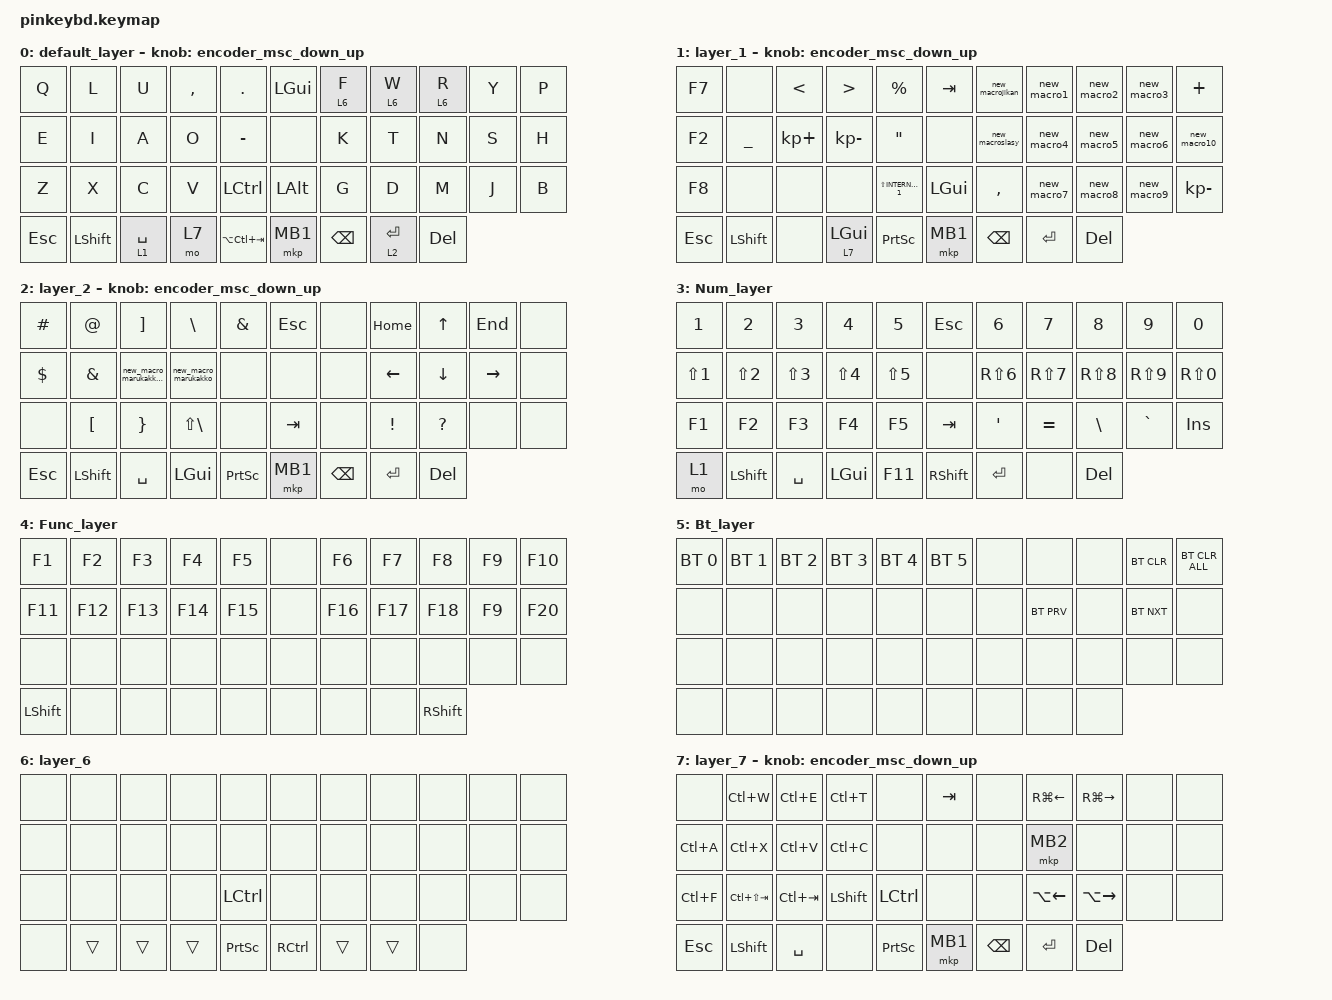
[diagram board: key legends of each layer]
#include <input/processors.dtsi>
#include <behaviors.dtsi>
#include <dt-bindings/zmk/bt.h>
#include <dt-bindings/zmk/keys.h>
#include <dt-bindings/zmk/pointing.h>

#undef  ZMK_POINTING_DEFAULT_SCRL_VAL

#define ZMK_POINTING_DEFAULT_SCRL_VAL 80

&lt { tapping-term-ms = <200>; };

/ {
    behaviors {
        rot_kp: sensor_rotate_kp {
            compatible = "zmk,behavior-sensor-rotate-var";
            #sensor-binding-cells = <2>;
            bindings = <&kp>, <&kp>;
        };

        encoder_msc_down_up: encoder_msc_down_up {
            compatible = "zmk,behavior-sensor-rotate";
            label = "ENCODER_MSC_DOWN_UP";
            #sensor-binding-cells = <0>;
            bindings = <&msc SCRL_DOWN>, <&msc SCRL_UP>;

            tap-ms = <20>;
        };
    };

    combos {
        compatible = "zmk,combos";

        lag1 {
            bindings = <&kp LANGUAGE_1>;
            key-positions = <19 18>;
        };

        lag2 {
            bindings = <&kp LANGUAGE_2>;
            key-positions = <14 13>;
        };

        tab {
            bindings = <&kp TAB>;
            key-positions = <29 30>;
        };
    };

    macros {
        new_macro1: new_macro1 {
            compatible = "zmk,behavior-macro";
            #binding-cells = <0>;
            bindings = <&kp LANGUAGE_2 &kp NUMBER_1>;
            label = "NEW_MACRO1";
        };

        new_macro2: new_macro2 {
            compatible = "zmk,behavior-macro";
            #binding-cells = <0>;
            bindings = <&kp LANGUAGE_2 &kp NUMBER_2>;
            label = "NEW_MACRO2";
        };

        new_macro3: new_macro3 {
            compatible = "zmk,behavior-macro";
            #binding-cells = <0>;
            bindings = <&kp LANGUAGE_2 &kp NUMBER_3>;
            label = "NEW_MACRO3";
        };

        new_macro4: new_macro4 {
            compatible = "zmk,behavior-macro";
            #binding-cells = <0>;
            bindings = <&kp LANGUAGE_2 &kp NUMBER_4>;
            label = "NEW_MACRO4";
        };

        new_macro5: new_macro5 {
            compatible = "zmk,behavior-macro";
            #binding-cells = <0>;
            bindings = <&kp LANGUAGE_2 &kp N5>;
            label = "NEW_MACRO5";
        };

        new_macro6: new_macro6 {
            compatible = "zmk,behavior-macro";
            #binding-cells = <0>;
            bindings = <&kp LANGUAGE_2 &kp NUMBER_6>;
            label = "NEW_MACRO6";
        };

        new_macro7: new_macro7 {
            compatible = "zmk,behavior-macro";
            #binding-cells = <0>;
            bindings = <&kp LANGUAGE_2 &kp N7>;
            label = "NEW_MACRO7";
        };

        new_macro8: new_macro8 {
            compatible = "zmk,behavior-macro";
            #binding-cells = <0>;
            bindings = <&kp LANGUAGE_2 &kp N8>;
            label = "NEW_MACRO8";
        };

        new_macro9: new_macro9 {
            compatible = "zmk,behavior-macro";
            #binding-cells = <0>;
            bindings = <&kp LANGUAGE_2 &kp N9>;
            label = "NEW_MACRO9";
        };

        new_macro10: new_macro0 {
            compatible = "zmk,behavior-macro";
            #binding-cells = <0>;
            bindings = <&kp LANGUAGE_2 &kp N0>;
            label = "NEW_MACRO0";
        };

        new_macrocolonn: new_macrocolonn {
            compatible = "zmk,behavior-macro";
            #binding-cells = <0>;
            bindings = <&kp LANGUAGE_2 &kp LS(SEMICOLON)>;
            label = "NEW_MACRO";
        };

        new_macroslasy: new_macroslasy {
            compatible = "zmk,behavior-macro";
            #binding-cells = <0>;
            bindings = <&kp LANGUAGE_2 &kp SLASH>;
            label = "NEW_MACROSLASY";
        };

        new_macronami: new_macronami {
            compatible = "zmk,behavior-macro";
            #binding-cells = <0>;
            bindings = <&kp LANGUAGE_2 &kp LS(GRAVE)>;
            label = "NEW_MACRONAMI";
        };

        new_macro_marukakko: new_macro_marukakko {
            compatible = "zmk,behavior-macro";
            #binding-cells = <0>;
            bindings = <&kp LANGUAGE_2 &kp LS(NUMBER_9)>;
            label = "NEW_MACRO_MARUKAKKO";
        };

        new_macro_marukakko2: new_macro_marukakko2 {
            compatible = "zmk,behavior-macro";
            #binding-cells = <0>;
            bindings = <&kp LANGUAGE_2 &kp LS(N0)>;
            label = "NEW_MACRO_MARUKAKKO2";
        };

        new_macro_marukakkomigi: new_macro_marukakkomigi {
            compatible = "zmk,behavior-macro";
            #binding-cells = <0>;
            bindings = <&kp LANGUAGE_2 &kp LS(N8)>;
            label = "NEW_MACRO_MARUKAKKOMIGI";
        };

        new_macrojikan: new_macrojikan {
            compatible = "zmk,behavior-macro";
            #binding-cells = <0>;
            bindings = <&kp LANGUAGE_2 &kp APOS>;
            label = "NEW_MACROJIKAN";
        };
    };

    keymap {
        compatible = "zmk,keymap";

        // ---------------------------------------------------------------------------------------------------------------------------------------------------------------------------------------------------------------
        // |        /       |       ,       |       .       |      -        |      ;       |    ESC         |                   |           |       L      |       R       |       D       |       Y       |      P      |
        // |        A       |       O       |       E       |      I        |      U       |    SCROLLLOCK  |                   |           |       G      |       N       |       T       |       S       |      K      |
        // |        X       |       C       |       V       |      W        |      Q       |    TAB         |                   |     F     |       J      |       H       |       M       |       B       |      Z      |
        // |    L_SHIFT     |               |               |   LOWER / Jp  |    Space     |    LEFT_WIN    |                   |  R_SHIFT  |      ENTER   |  LOWER2 / Ja  |               |               |   FUN_L     |
        // ---------------------------------------------------------------------------------------------------------------------------------------------------------------------------------------------------------------

        default_layer {
            bindings = <
&kp Q    &kp L           &kp U        &kp COMMA  &kp DOT           &kp LEFT_GUI  &lt 6 F        &lt 6 W      &lt 6 R     &kp Y  &kp P
&kp E    &kp I           &kp A        &kp O      &kp MINUS         &none         &kp K          &kp T        &kp N       &kp S  &kp H
&kp Z    &kp X           &kp C        &kp V      &kp LEFT_CONTROL  &kp LEFT_ALT  &kp G          &kp D        &kp M       &kp J  &kp B
&kp ESC  &kp LEFT_SHIFT  &lt 1 SPACE  &mo 7      &kp LA(LC(TAB))   &mkp MB1      &kp BACKSPACE  &lt 2 ENTER  &kp DELETE
            >;

            sensor-bindings = <&encoder_msc_down_up>;
        };

        // ----------------------------------------------------------------------------------------------------------------------------------------------------------------------------------------------------------------
        // |    /           |       ,       |       END     |     （        |      ”        |    PAUSE_BREAK|                  |            |      （       |       ）     |        ↑      |        [      |      ]      |
        // |    HOME        |       C_SAVE  |       END     |       ）      |       U       |    SCROLLLOCK |                  |            |   Backspace   |       ←      |        ↓      |        →      |     DEL     |
        // |    UNDO        |       CUT     |       COPY    |       PASTE   |       Q       |    TAB        |                  |   PSCRN    |    ' / "      |    = / +     |    \ / |      |    ` / ~      |    INS      |
        // |    L_SHIFT     |               |               |       none    |    SPACE      |    LALT       |                  |   RSHIFT   |   ENTER       |       FUN_L  |               |               |    RCTRL    |
        // ----------------------------------------------------------------------------------------------------------------------------------------------------------------------------------------------------------------

        layer_1 {
            bindings = <
&kp F7      &none           &kp LESS_THAN  &kp GREATER_THAN  &kp PERCENT              &kp TAB       &new_macrojikan  &new_macro1  &new_macro2  &new_macro3  &kp PLUS
&kp F2      &kp UNDER       &kp KP_PLUS    &kp KP_MINUS      &kp DOUBLE_QUOTES        &none         &new_macroslasy  &new_macro4  &new_macro5  &new_macro6  &new_macro10
&kp F8      &none           &none          &none             &kp LS(INTERNATIONAL_1)  &kp LEFT_GUI  &kp COMMA        &new_macro7  &new_macro8  &new_macro9  &kp KP_SUBTRACT
&kp ESCAPE  &kp LEFT_SHIFT  &none          &lt 7 LEFT_GUI    &kp PSCRN                &mkp MB1      &kp BACKSPACE    &kp ENTER    &kp DEL
            >;

            sensor-bindings = <&encoder_msc_down_up>;
        };

        // -------------------------------------------------------------------------------------------------------------------------------------------------------------------------------------------------------------
        // |    /           |       ,        |       END     |       {       |       ’      |    ESC        |                  |            |      L      |      R         |    PG_UP      |     {       |      }      |
        // |    HOME        |       C_SAVE   |       END     |       }       |       U      |    LCTRL      |                  |            |  Backspace  |    HOME        |    PG_DN      |    END      |    DEL      |
        // |    UNDO        |       CUT      |       COPY    |       PASTE   |       Q      |    TAB        |                  |      F     |    ' / "    |    = / +       |    \ / |      |    ` / ~    |    INS      |
        // |    L_SHIFT     |                |               |       BT_L    |      SPACE   |    LALT       |                  |   ENTER    |    none     |   R_SHIFT      |               |             |   R_SHIFT   |
        // -------------------------------------------------------------------------------------------------------------------------------------------------------------------------------------------------------------

        layer_2 {
            bindings = <
&kp HASH    &kp AT            &kp RIGHT_BRACKET         &kp BACKSLASH         &kp AMPERSAND  &kp ESC   &none          &kp HOME        &kp UP_ARROW    &kp END          &none
&kp DOLLAR  &kp AMPERSAND     &new_macro_marukakkomigi  &new_macro_marukakko  &none          &none     &none          &kp LEFT_ARROW  &kp DOWN_ARROW  &kp RIGHT_ARROW  &none
&none       &kp LEFT_BRACKET  &kp RIGHT_BRACE           &kp LS(BSLH)          &none          &kp TAB   &none          &kp EXCL        &kp QUESTION    &none            &none
&kp ESCAPE  &kp LEFT_SHIFT    &kp SPACE                 &kp LEFT_GUI          &kp PSCRN      &mkp MB1  &kp BACKSPACE  &kp ENTER       &kp DELETE
            >;

            sensor-bindings = <&encoder_msc_down_up>;
        };

        // --------------------------------------------------------------------------------------------------------------------------------------------------------------------------------------------------------------
        // |        1       |      2        |       3       |       4       |       5       |    ESC        |               |            |      6       |      7        |       8       |       9       |       0       |
        // |        !       |      @        |       #       |       $       |       %       |    none       |               |            |      ^       |      &        |       *       |       (       |       )       | 
        // |        F1      |     F2        |     F3        |       F4      |       F5      |    TAB        |               |     F11    |    ' / "     |    = / +      |    \ / |      |    ` / ~      |       INS     |
        // |    L_SHIFT     |               |               | En / LOWER    |    Space      |    LSIHT      |               |   R_SHIFT  |      ENTER   |     none      |               |               |       R_SHIFT |
        // --------------------------------------------------------------------------------------------------------------------------------------------------------------------------------------------------------------

        Num_layer {
            bindings = <
&kp N1      &kp N2          &kp N3      &kp N4        &kp N5      &kp ESC     &kp N6      &kp N7      &kp N8      &kp N9      &kp N0
&kp LS(N1)  &kp LS(N2)      &kp LS(N3)  &kp LS(N4)    &kp LS(N5)  &none       &kp RS(N6)  &kp RS(N7)  &kp RS(N8)  &kp RS(N9)  &kp RS(N0)
&kp F1      &kp F2          &kp F3      &kp F4        &kp F5      &kp TAB     &kp APOS    &kp EQUAL   &kp BSLH    &kp GRAVE   &kp INS
&mo 1       &kp LEFT_SHIFT  &kp SPACE   &kp LEFT_GUI  &kp F11     &kp RSHIFT  &kp ENTER   &none       &kp DELETE
            >;
        };

        // ---------------------------------------------------------------------------------------------------------------------------------------------------------------------------------
        // |     F1      |     F2     |     F3     |     F4     |    F5      |    none    |                |            |    F6      |    F7      |    F8      |    F9       |     F10     |
        // |     F11     |     F12    |     F13    |     F14    |    F15     |    none    |                |   none     |    F16     |    F17     |    F18     |    F19      |     F20     |
        // |     none    |    none    |    none    |    none    |   none     |    none    |                |   none     |    none    |    none    |    none    |    none     |     none    |
        // |     L_SHIFT |    none    |    none    |    none    |   none     |    none    |                |   none     |    none    |    none    |    none    |    none     |     R_SHIFT |
        // ---------------------------------------------------------------------------------------------------------------------------------------------------------------------------------

        Func_layer {
            bindings = <
&kp F1      &kp F2   &kp F3   &kp F4   &kp F5   &none  &kp F6   &kp F7   &kp F8      &kp F9  &kp F10
&kp F11     &kp F12  &kp F13  &kp F14  &kp F15  &none  &kp F16  &kp F17  &kp F18     &kp F9  &kp F20
&none       &none    &none    &none    &none    &none  &none    &none    &none       &none   &none
&kp LSHIFT  &none    &none    &none    &none    &none  &none    &none    &kp RSHIFT
            >;
        };

        // --------------------------------------------------------------------------------------------------------------------------------------------------------------------------------
        // |    none    |    none    |    none    |    none    |   none     |    none    |                  |            |    none    |    none    |    none    |   none     |    none    |
        // |  BT_SEL 0  |  BT_SEL 1  |  BT_SEL 2  |  BT_SEL 3  |   none     |    none    |                  |            |    none    |    none    |    none    |   BT_CLR   | BT_CLR_ALL |
        // |    none    |    none    |    none    |    none    |   none     |    none    |                  |    none    |    none    |   BT_PRV   |    none    |   BT_NXT   |    none    |
        // |    none    |    none    |    none    |    none    |   none     |    none    |                  |    none    |    none    |    none    |    none    |   none     |    none    |
        // --------------------------------------------------------------------------------------------------------------------------------------------------------------------------------

        Bt_layer {
            bindings = <
&bt BT_SEL 0  &bt BT_SEL 1  &bt BT_SEL 2  &bt BT_SEL 3  &bt BT_SEL 4  &bt BT_SEL 5  &none  &none       &none  &bt BT_CLR  &bt BT_CLR_ALL
&none         &none         &none         &none         &none         &none         &none  &bt BT_PRV  &none  &bt BT_NXT  &none
&none         &none         &none         &none         &none         &none         &none  &none       &none  &none       &none
&none         &none         &none         &none         &none         &none         &none  &none       &none
            >;
        };

        layer_6 {
            bindings = <
&none  &none   &none   &none   &none             &none              &none   &none   &none  &none  &none
&none  &none   &none   &none   &none             &none              &none   &none   &none  &none  &none
&none  &none   &none   &none   &kp LEFT_CONTROL  &none              &none   &none   &none  &none  &none
&none  &trans  &trans  &trans  &kp PRINTSCREEN   &kp RIGHT_CONTROL  &trans  &trans  &none
            >;
        };

        layer_7 {
            bindings = <
&none       &kp LC(W)        &kp LC(E)    &kp LC(T)       &none             &kp TAB   &none          &kp RG(LEFT_ARROW)  &kp RG(RIGHT_ARROW)  &none  &none
&kp LC(A)   &kp LC(X)        &kp LC(V)    &kp LC(C)       &none             &none     &none          &mkp MB2            &none                &none  &none
&kp LC(F)   &kp LC(LS(TAB))  &kp LC(TAB)  &kp LEFT_SHIFT  &kp LEFT_CONTROL  &none     &none          &kp LA(LEFT_ARROW)  &kp LA(RIGHT_ARROW)  &none  &none
&kp ESCAPE  &kp LEFT_SHIFT   &kp SPACE    &none           &kp PRINTSCREEN   &mkp MB1  &kp BACKSPACE  &kp ENTER           &kp DELETE
            >;

            sensor-bindings = <&encoder_msc_down_up>;
        };
    };
};
